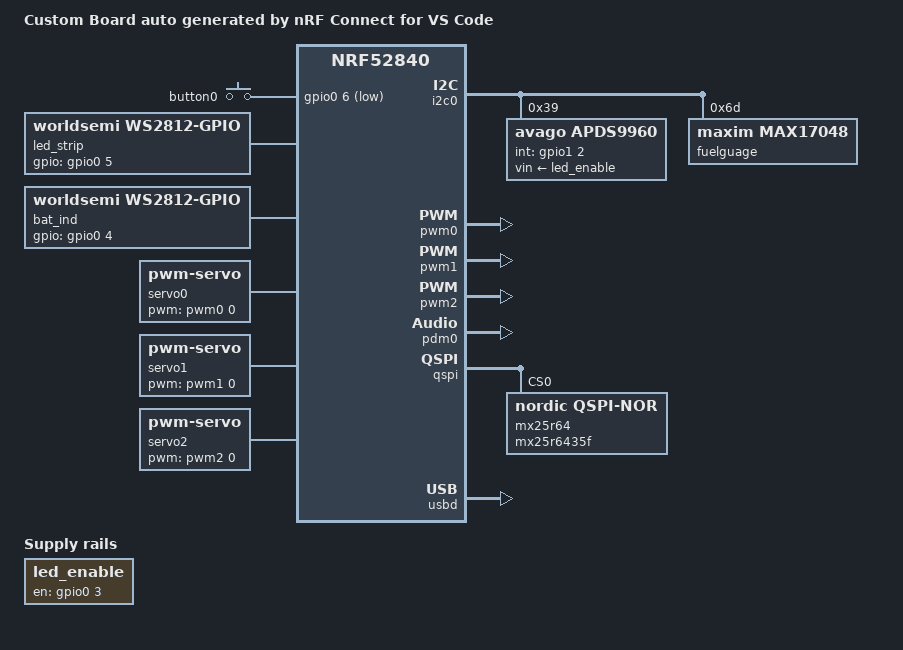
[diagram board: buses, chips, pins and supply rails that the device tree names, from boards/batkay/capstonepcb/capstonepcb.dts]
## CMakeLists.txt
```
# SPDX-License-Identifier: Apache-2.0

cmake_minimum_required(VERSION 3.20.0)

find_package(Zephyr REQUIRED HINTS $ENV{ZEPHYR_BASE})
project(capstone)

FILE(GLOB app_sources src/*.c)
target_sources(app PRIVATE ${app_sources})
```

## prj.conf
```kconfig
CONFIG_LOG=y

CONFIG_LED_STRIP=y
CONFIG_LED_STRIP_LOG_LEVEL_DBG=y

CONFIG_CONSOLE=y
# CONFIG_UART_CONSOLE=y
# CONFIG_STDOUT_CONSOLE=y
CONFIG_RTT_CONSOLE=y
CONFIG_USE_SEGGER_RTT=y
CONFIG_PRINTK=y
CONFIG_PWM=y

CONFIG_REGULATOR=y
CONFIG_REGULATOR_FIXED=y

CONFIG_HEAP_MEM_POOL_SIZE=1024
# CONFIG_ASSERT=y
CONFIG_GPIO=y

CONFIG_AUDIO=y
CONFIG_AUDIO_DMIC=y

CONFIG_I2C=y
CONFIG_SENSOR=y

CONFIG_FUEL_GAUGE=y

CONFIG_SENSOR_LOG_LEVEL_INF=y
CONFIG_I2C_LOG_LEVEL_INF=y

CONFIG_APDS9960_TRIGGER_GLOBAL_THREAD=n
CONFIG_APDS9960_TRIGGER_NONE=y
CONFIG_APDS9960_FETCH_MODE_POLL=y
CONFIG_PM_DEVICE=n

# Enable Edge Impulse dependencies
CONFIG_CPP=y
CONFIG_STD_CPP11=y
CONFIG_FP16=n

CONFIG_POWEROFF=y #Sleep
```

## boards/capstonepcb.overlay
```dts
&i2c0 {

	apds9960: gesturesensor@39 {
		compatible = "avago,apds9960";
		reg = <0x39>;
		vin-supply = <&led_enable>;
		zephyr,deferred-init;
	};
};
```

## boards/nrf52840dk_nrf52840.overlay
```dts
/*
 * Copyright (c) 2019, Nordic Semiconductor ASA
 *
 * SPDX-License-Identifier: Apache-2.0
 */

#include <zephyr/dt-bindings/gpio/gpio.h>
#include <zephyr/dt-bindings/led/led.h>

/ {
	cpus {
		// needed for correct ws2812 timing
        cpu@0 {
            clock-frequency = <64000000>;
        };
    };

	led_enable: led_enable {
        compatible = "power-switch";
		gpios = <&gpio0 25 GPIO_ACTIVE_HIGH>;
	};

	led_strip: ws2812 {
		compatible = "worldsemi,ws2812-gpio";

		chain-length = <150>; /* arbitrary */
		color-mapping = <LED_COLOR_ID_GREEN
				 LED_COLOR_ID_RED
				 LED_COLOR_ID_BLUE>;
		/*
		 * Arduino D11 / P0.25, which was chosen to match the pin
		 * used in nrf52dk_nrf52832.overlay.
		 */
		gpios = <&gpio0 2 GPIO_ACTIVE_HIGH>;

		reset-delay = <3200>;

        delay-t1h = <51>;
        delay-t1l = <29>;
        delay-t0h = <26>;
        delay-t0l = <54>;
	};
	bat_ind: bat_led {
		compatible = "worldsemi,ws2812-gpio";

		chain-length = <1>; /* arbitrary */
		color-mapping = <LED_COLOR_ID_GREEN
				 LED_COLOR_ID_RED
				 LED_COLOR_ID_BLUE>;

		gpios = <&gpio0 4 GPIO_ACTIVE_HIGH>;

		reset-delay = <3200>;

        delay-t1h = <51>;
        delay-t1l = <29>;
        delay-t0h = <26>;
        delay-t0l = <54>;
	};
	
	servo0: servo0 {
		compatible = "pwm-servo";
		pwms = <&pwm0 0 PWM_MSEC(20) PWM_POLARITY_NORMAL>;
		min-pulse = <PWM_MSEC(1)>;
		max-pulse = <PWM_MSEC(2)>;
	};
	
	servo1: servo1 {
		compatible = "pwm-servo";
		pwms = <&pwm1 0 PWM_MSEC(20) PWM_POLARITY_NORMAL>;
		min-pulse = <PWM_MSEC(1)>;
		max-pulse = <PWM_MSEC(2)>;
	};

	servo2: servo2 {
		compatible = "pwm-servo";
		pwms = <&pwm2 0 PWM_MSEC(20) PWM_POLARITY_NORMAL>;
		min-pulse = <PWM_MSEC(1)>;
		max-pulse = <PWM_MSEC(2)>;
	};
	

	aliases {
		led-strip = &led_strip;
		bat-ind = &bat_ind;
		led-enable = &led_enable;

	};
};
&i2c0 {
	apds9960: gesturesensor@39 {
		compatible = "avago,apds9960";
		reg = <0x39>;
		int-gpios = <&gpio1 2 GPIO_ACTIVE_HIGH>;
	};

	fuelguage: max17048@6D {
		compatible = "maxim,max17048";
		reg = <0x6D>;

	};
};

&pinctrl {
	pwm0_default_custom: pwm0_default_custom {
		group1 {
			psels = <NRF_PSEL(PWM_OUT0, 0, 13)>; // put pins in commas here?
			nordic,invert;
		};
	};
	pwm0_csleep: pwm0_csleep {
		group1 {
		    psels = <NRF_PSEL(PWM_OUT0, 0, 13)>;
		    low-power-enable;
		};
	};
	pwm1_default_custom: pwm1_default_custom {
		group1 {
			psels = <NRF_PSEL(PWM_OUT0, 0, 4)>; // put pins in commas here?
			nordic,invert;
		};
	};
	pwm1_csleep: pwm1_csleep {
		group1 {
		    psels = <NRF_PSEL(PWM_OUT0, 0, 4)>;
		    low-power-enable;
		};
	};
	pwm2_default_custom: pwm2_default_custom {
		group1 {
			psels = <NRF_PSEL(PWM_OUT0, 0, 3)>; // put pins in commas here?
			nordic,invert;
		};
	};
	pwm2_csleep: pwm2_csleep {
		group1 {
		    psels = <NRF_PSEL(PWM_OUT0, 0, 3)>;
		    low-power-enable;
		};
	};
	pdm0_default_alt: pdm0_default_alt {
		group1 {
			psels = <NRF_PSEL(PDM_CLK, 0, 30)>,
				<NRF_PSEL(PDM_DIN, 0, 31)>;
		};
	};
};

&pwm0 {
	pinctrl-0 = <&pwm0_default_custom>;
	pinctrl-1 = <&pwm0_csleep>;
};

&pwm1 {
	pinctrl-0 = <&pwm1_default_custom>;
	pinctrl-1 = <&pwm1_csleep>;
	status = "okay";
	pinctrl-names="default", "sleep";
};
&pwm2 {
	pinctrl-0 = <&pwm2_default_custom>;
	pinctrl-1 = <&pwm2_csleep>;
	status = "okay";
	pinctrl-names="default", "sleep";
};

dmic: &pdm0 {
	status = "okay";
	pinctrl-0 = <&pdm0_default_alt>;
	pinctrl-names = "default";
	clock-source = "PCLK32M_HFXO";
};
```

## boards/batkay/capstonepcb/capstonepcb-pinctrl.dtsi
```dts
&gpiote {
	status = "okay";
};

&gpio0 {
	status = "okay";
};

&gpio1 {
	status = "okay";
};

&pinctrl {
	// Communication protocals

	// i2c
	i2c0_default: i2c0_default {
		group1 {
			psels = <NRF_PSEL(TWIM_SDA, 0, 26)>,
				<NRF_PSEL(TWIM_SCL, 0, 27)>;
		};
	};
	i2c0_sleep: i2c0_sleep {
		group1 {
			psels = <NRF_PSEL(TWIM_SDA, 0, 26)>,
				<NRF_PSEL(TWIM_SCL, 0, 27)>;
			low-power-enable;
		};
	};

	// pdm
	pdm0_default_alt: pdm0_default_alt {
		group1 {
			psels = <NRF_PSEL(PDM_CLK, 0, 30)>,
				<NRF_PSEL(PDM_DIN, 0, 31)>;
		};
	};

	// qspi
	qspi_default: qspi_default {
		group1 {
			psels = <NRF_PSEL(QSPI_SCK, 0, 19)>,
				<NRF_PSEL(QSPI_IO0, 0, 20)>,
				<NRF_PSEL(QSPI_IO1, 0, 21)>,
				<NRF_PSEL(QSPI_IO2, 0, 22)>,
				<NRF_PSEL(QSPI_IO3, 0, 23)>,
				<NRF_PSEL(QSPI_CSN, 0, 17)>;
			nordic,drive-mode = <NRF_DRIVE_H0H1>;
		};
	};

	qspi_sleep: qspi_sleep {
		group1 {
			psels = <NRF_PSEL(QSPI_SCK, 0, 19)>,
				<NRF_PSEL(QSPI_IO0, 0, 20)>,
				<NRF_PSEL(QSPI_IO1, 0, 21)>,
				<NRF_PSEL(QSPI_IO2, 0, 22)>,
				<NRF_PSEL(QSPI_IO3, 0, 23)>;
			low-power-enable;
		};
		group2 {
			psels = <NRF_PSEL(QSPI_CSN, 0, 17)>;
			low-power-enable;
			bias-pull-up;
		};
	};

	// pwm
	pwm0_default_custom: pwm0_default_custom {
		group1 {
			psels = <NRF_PSEL(PWM_OUT0, 0, 8)>; // put pins in commas here?
			nordic,invert;
		};
	};
	pwm0_csleep: pwm0_csleep {
		group1 {
		    psels = <NRF_PSEL(PWM_OUT0, 0, 8)>;
		    low-power-enable;
		};
	};
	pwm1_default_custom: pwm1_default_custom {
		group1 {
			psels = <NRF_PSEL(PWM_OUT0, 0, 13)>; // put pins in commas here?
			nordic,invert;
		};
	};
	pwm1_csleep: pwm1_csleep {
		group1 {
		    psels = <NRF_PSEL(PWM_OUT0, 0, 13)>;
		    low-power-enable;
		};
	};
	pwm2_default_custom: pwm2_default_custom {
		group1 {
			psels = <NRF_PSEL(PWM_OUT0, 0, 14)>; // put pins in commas here?
			nordic,invert;
		};
	};
	pwm2_csleep: pwm2_csleep {
		group1 {
		    psels = <NRF_PSEL(PWM_OUT0, 0, 14)>;
		    low-power-enable;
		};
	};
	pwm3_default_custom: pwm3_default_custom {
		group1 {
			psels = <NRF_PSEL(PWM_OUT0, 0, 15)>; // put pins in commas here?
			nordic,invert;
		};
	};
	pwm3_csleep: pwm3_csleep {
		group1 {
		    psels = <NRF_PSEL(PWM_OUT0, 0, 15)>;
		    low-power-enable;
		};
	};
	pwm4_default_custom: pwm4_default_custom {
		group1 {
			psels = <NRF_PSEL(PWM_OUT0, 0, 16)>; // put pins in commas here?
			nordic,invert;
		};
	};
	pwm4_csleep: pwm4_csleep {
		group1 {
		    psels = <NRF_PSEL(PWM_OUT0, 0, 16)>;
		    low-power-enable;
		};
	};
	pwm5_default_custom: pwm5_default_custom {
		group1 {
			psels = <NRF_PSEL(PWM_OUT0, 0, 24)>; // put pins in commas here?
			nordic,invert;
		};
	};
	pwm5_csleep: pwm5_csleep {
		group1 {
		    psels = <NRF_PSEL(PWM_OUT0, 0, 24)>;
		    low-power-enable;
		};
	};

};
```

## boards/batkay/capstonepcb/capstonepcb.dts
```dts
/dts-v1/;
#include <nordic/nrf52840_qiaa.dtsi>

#include <zephyr/dt-bindings/gpio/gpio.h>
#include <zephyr/dt-bindings/led/led.h>

#include "capstonepcb-pinctrl.dtsi"

/ {
	model = "Custom Board auto generated by nRF Connect for VS Code";
	compatible = "batkay,capstonepcb";

	chosen {
		zephyr,sram = &sram0;
		zephyr,flash = &flash0;
		zephyr,code-partition = &slot0_partition;
	};

	cpus {
		// needed for correct ws2812 timing
        cpu@0 {
            clock-frequency = <64000000>;
        };
    };

	led_enable: regulator {
		compatible = "regulator-fixed";
		regulator-name = "load_switch_3v3";

		enable-gpios = <&gpio0 3 GPIO_ACTIVE_HIGH>;

		// enable-active-high;
		
	};

	buttons {
		compatible = "gpio-keys";
		no-disconnect;
		debounce-interval-ms = <0>;
		button0: button_0 {
			gpios = <&gpio0 6 GPIO_ACTIVE_LOW>;
		};
	};

	led_strip: ws2812 {
		compatible = "worldsemi,ws2812-gpio";

		chain-length = <150>; /* arbitrary */
		color-mapping = <LED_COLOR_ID_GREEN
				 LED_COLOR_ID_RED
				 LED_COLOR_ID_BLUE>;

		gpios = <&gpio0 5 GPIO_ACTIVE_HIGH>;

		reset-delay = <3200>;

        delay-t1h = <51>;
        delay-t1l = <29>;
        delay-t0h = <26>;
        delay-t0l = <54>;
	};

	bat_ind: bat_led {
		compatible = "worldsemi,ws2812-gpio";

		chain-length = <1>; /* arbitrary */
		color-mapping = <LED_COLOR_ID_GREEN
				 LED_COLOR_ID_RED
				 LED_COLOR_ID_BLUE>;

		gpios = <&gpio0 4 GPIO_ACTIVE_HIGH>;

		reset-delay = <3200>;

        delay-t1h = <51>;
        delay-t1l = <29>;
        delay-t0h = <26>;
        delay-t0l = <54>;
	};
	
	

	// pwm

	servo0: servo0 {
		compatible = "pwm-servo";
		pwms = <&pwm0 0 PWM_MSEC(20) PWM_POLARITY_NORMAL>;
		min-pulse = <PWM_MSEC(1)>;
		max-pulse = <PWM_MSEC(2)>;
	};
	
	servo1: servo1 {
		compatible = "pwm-servo";
		pwms = <&pwm1 0 PWM_MSEC(20) PWM_POLARITY_NORMAL>;
		min-pulse = <PWM_MSEC(1)>;
		max-pulse = <PWM_MSEC(2)>;
	};

	servo2: servo2 {
		compatible = "pwm-servo";
		pwms = <&pwm2 0 PWM_MSEC(20) PWM_POLARITY_NORMAL>;
		min-pulse = <PWM_MSEC(1)>;
		max-pulse = <PWM_MSEC(2)>;
	};
	

	aliases {
		led-strip = &led_strip;
		bat-ind = &bat_ind;
		led-enable = &led_enable;
	};
};

&flash0 {
	partitions {
		compatible = "fixed-partitions";
		#address-cells = <1>;
		#size-cells = <1>;

		boot_partition: partition@0 {
			label = "mcuboot";
			reg = <0x00000000 DT_SIZE_K(48)>;
		};

		slot0_partition: partition@c000 {
			label = "image-0";
			reg = <0x0000c000 DT_SIZE_K(472)>;
		};

		slot1_partition: partition@82000 {
			label = "image-1";
			reg = <0x00082000 DT_SIZE_K(472)>;
		};

		storage_partition: partition@f8000 {
			label = "storage";
			reg = <0x000f8000 DT_SIZE_K(32)>;
		};
	};
};

&i2c0 {
	
	compatible = "nordic,nrf-twi";
	status = "okay";
	pinctrl-0 = <&i2c0_default>;
	pinctrl-1 = <&i2c0_sleep>;
	pinctrl-names = "default", "sleep";
	
	apds9960: gesturesensor@39 {
		compatible = "avago,apds9960";
		reg = <0x39>;
		int-gpios = <&gpio1 2 GPIO_ACTIVE_HIGH>;
		vin-supply = <&led_enable>;
		zephyr,deferred-init;
	};

	fuelguage: max17048@6D {
		compatible = "maxim,max17048";
		reg = <0x6D>;
	};
};


&pwm0 {
	pinctrl-0 = <&pwm0_default_custom>;
	pinctrl-1 = <&pwm0_csleep>;
	status = "okay";
	pinctrl-names="default", "sleep";
};

&pwm1 {
	pinctrl-0 = <&pwm1_default_custom>;
	pinctrl-1 = <&pwm1_csleep>;
	status = "okay";
	pinctrl-names="default", "sleep";
};
&pwm2 {
	pinctrl-0 = <&pwm2_default_custom>;
	pinctrl-1 = <&pwm2_csleep>;
	status = "okay";
	pinctrl-names="default", "sleep";
};

dmic: &pdm0 {
	status = "okay";
	pinctrl-0 = <&pdm0_default_alt>;
	pinctrl-names = "default";
	clock-source = "PCLK32M_HFXO";

};

// qspi flash
&qspi {
	status = "okay";
	pinctrl-0 = <&qspi_default>;
	pinctrl-1 = <&qspi_sleep>;
	pinctrl-names = "default", "sleep";
	mx25r64: mx25r6435f@0 {
		compatible = "nordic,qspi-nor";
		reg = <0>;
		/* MX25R64 supports only pp and pp4io */
		writeoc = "pp4io";
		/* MX25R64 supports all readoc options */
		readoc = "read4io";
		sck-frequency = <8000000>;
		jedec-id = [c2 28 17];
		sfdp-bfp = [
			e5 20 f1 ff  ff ff ff 03  44 eb 08 6b  08 3b 04 bb
			ee ff ff ff  ff ff 00 ff  ff ff 00 ff  0c 20 0f 52
			10 d8 00 ff  23 72 f5 00  82 ed 04 cc  44 83 68 44
			30 b0 30 b0  f7 c4 d5 5c  00 be 29 ff  f0 d0 ff ff
		];
		size = <67108864>;
		has-dpd;
		t-enter-dpd = <10000>;
		t-exit-dpd = <35000>;
	};
};

zephyr_udc0: &usbd {
	compatible = "nordic,nrf-usbd";
	status = "okay";
};
```

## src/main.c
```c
/*
 * Copyright (c) 2017 Linaro Limited
 * Copyright (c) 2018 Intel Corporation
 * Copyright (c) 2024 TOKITA Hiroshi
 *
 * SPDX-License-Identifier: Apache-2.0
 */

#include <errno.h>
#include <string.h>

#include <zephyr/logging/log.h>
LOG_MODULE_REGISTER(main);

#include <zephyr/kernel.h>
#include <zephyr/device.h>
#include <zephyr/devicetree.h>

#include <zephyr/drivers/led_strip.h>

#include <zephyr/sys/util.h>
#include <zephyr/drivers/gpio.h>
#include <zephyr/drivers/regulator.h>
#include <zephyr/sys/poweroff.h>

#include "gesture.h"
#include "led.h"
#include "servo.h"
#include "switch.h"

#define DELAY_TIME K_MSEC(50)

/* size of stack area used by each thread */
#define STACKSIZE 1024

/* scheduling priority used by each thread */
#define PRIORITY 7

#define BUTTON0	DT_ALIAS(sw0)
static struct gpio_callback button_cb_data;

static const struct gpio_dt_spec button = GPIO_DT_SPEC_GET_OR(BUTTON0, gpios, {0});

void buttonPressed(const struct device *dev, struct gpio_callback *cb, uint32_t pins) {
	int err;
	err = gpio_pin_interrupt_configure_dt(&button, 	GPIO_INT_LEVEL_ACTIVE);
	if (err) {
		printf("Could not configure sw0 GPIO interrupt (%d)\n", err);
		return;
	}
	end();
	sys_poweroff();
}

int main(void) {
	int err = 0;
    start();

	if (!gpio_is_ready_dt(&button)) {
		printk("Error: button device %s is not ready\n",
				button.port->name);
		return 0;
	}

	err = gpio_pin_configure_dt(&button, (GPIO_INPUT));
	if (err) {
		printk("Error %d: failed to configure button", err);
		return 0;
	}

	err = gpio_pin_interrupt_configure_dt(&button, 	GPIO_INT_EDGE_TO_INACTIVE);

	if (err) {
		printf("Could not configure sw0 GPIO interrupt (%d)\n", err);

		return 0;
	}
	
	gpio_init_callback(&button_cb_data, buttonPressed, BIT(button.pin));
	gpio_add_callback(button.port, &button_cb_data);

	printk("start");
	return 0;
}



K_THREAD_DEFINE(servo_id, STACKSIZE, servoCtrl, NULL, NULL, NULL,
	PRIORITY + 1, 0, 0);

K_THREAD_DEFINE(gesture_id, STACKSIZE, gestureSample, NULL, NULL, NULL,
	PRIORITY, 0, 0);

K_THREAD_DEFINE(led_id, STACKSIZE, ledControl, NULL, NULL, NULL,
	PRIORITY + 2, 0, 0);
```

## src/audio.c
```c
#include <zephyr/kernel.h>
#include <zephyr/logging/log.h>
LOG_MODULE_REGISTER(dmic);

#include <zephyr/audio/dmic.h>
#include <ei_wrapper.h>

#include "audio.h"
//static const struct device *const dmic_dev = DEVICE_DT_GET(DT_NODELABEL(dmic_dev));

#define MAX_SAMPLE_RATE  4000
#define SAMPLE_BIT_WIDTH 16
#define BYTES_PER_SAMPLE sizeof(int16_t)
/* Milliseconds to wait for a block to be read. */
#define READ_TIMEOUT     1000

/* Size of a block for 100 ms of audio data. */
#define BLOCK_SIZE(_sample_rate, _number_of_channels) \
	(BYTES_PER_SAMPLE * (_sample_rate / 10) * _number_of_channels)

/* Driver will allocate blocks from this slab to receive audio data into them.
 * Application, after getting a given block from the driver and processing its
 * data, needs to free that block.
 */
#define MAX_BLOCK_SIZE   BLOCK_SIZE(MAX_SAMPLE_RATE, 1)
#define BLOCK_COUNT      4
K_MEM_SLAB_DEFINE_STATIC(mem_slab, MAX_BLOCK_SIZE, BLOCK_COUNT, 4);

#define FRAME_ADD_INTERVAL_MS	100

const struct device *const dmic_dev = DEVICE_DT_GET(DT_NODELABEL(dmic));

// #define DEBUG_AUDIO

static void result_ready_cb(int err)
{
	if (err) {
		#ifdef DEBUG_AUDIO
		printk("Result ready callback returned error (err: %d)\n", err);
		#endif

		return;
	}

	const char *label;
	float value;
	float anomaly;


	#ifdef DEBUG_AUDIO

	printk("\nClassification results\n");
	printk("======================\n");
	#endif


	while (true) {
		err = ei_wrapper_get_next_classification_result(&label, &value, NULL);

		if (err) {
			if (err == -ENOENT) {
				err = 0;
			}
			break;
		}
		#ifdef DEBUG_AUDIO

		printk("Value: %.2f\tLabel: %s\n", (double)value, label);
		#endif

	}

	if (err) {
		#ifdef DEBUG_AUDIO

		printk("Cannot get classification results (err: %d)", err);
		#endif

	} else {
		if (ei_wrapper_classifier_has_anomaly()) {
			err = ei_wrapper_get_anomaly(&anomaly);
			if (err) {
				#ifdef DEBUG_AUDIO

				printk("Cannot get anomaly (err: %d)\n", err);
				#endif

			} else {
				#ifdef DEBUG_AUDIO

				printk("Anomaly: %.2f\n", (double)anomaly);
				#endif

			}
		}
	}

	err = ei_wrapper_start_prediction(0, 1);
	if (err) {
		#ifdef DEBUG_AUDIO

		printk("Cannot restart prediction (err: %d)\n", err);
		#endif

	} else {
		#ifdef DEBUG_AUDIO

		printk("Prediction restarted...\n");
		#endif

	}

	
}


int audioSample() {
	int ret;

	LOG_INF("DMIC sample");

	if (!device_is_ready(dmic_dev)) {
		LOG_ERR("%s is not ready", dmic_dev->name);
		return 0;
	}

	struct pcm_stream_cfg stream = {
		.pcm_width = SAMPLE_BIT_WIDTH,
		.mem_slab  = &mem_slab,
	};
	struct dmic_cfg cfg = {
		.io = {
			/* These fields can be used to limit the PDM clock
			 * configurations that the driver is allowed to use
			 * to those supported by the microphone.
			 */
			.min_pdm_clk_freq = 1000000,
			.max_pdm_clk_freq = 3500000,
			.min_pdm_clk_dc   = 40,
			.max_pdm_clk_dc   = 60,
		},
		.streams = &stream,
		.channel = {
			.req_num_streams = 1,
		},
	};

	cfg.channel.req_num_chan = 1;
	cfg.channel.req_chan_map_lo =
		dmic_build_channel_map(0, 0, PDM_CHAN_LEFT);
	cfg.streams[0].pcm_rate = MAX_SAMPLE_RATE;
	cfg.streams[0].block_size =
		BLOCK_SIZE(cfg.streams[0].pcm_rate, cfg.channel.req_num_chan);


	LOG_INF("PCM output rate: %u, channels: %u",
		cfg.streams[0].pcm_rate, cfg.channel.req_num_chan);

	ret = dmic_configure(dmic_dev, &cfg);
	if (ret < 0) {
		LOG_ERR("Failed to configure the driver: %d", ret);
		return ret;
	}

	ret = ei_wrapper_init(result_ready_cb);

	if (ret) {
		printk("Edge Impulse wrapper failed to initialize (err: %d)\n", ret);
		return 0;
	};

	printk("Machine learning model sampling frequency: %zu\n",
	       ei_wrapper_get_classifier_frequency());
	printk("Machine learning model frame size: %zu\n",
		ei_wrapper_get_frame_size());
	printk("Labels assigned by the model:\n");
	for (size_t i = 0; i < ei_wrapper_get_classifier_label_count(); i++) {
		printk("- %s\n", ei_wrapper_get_classifier_label(i));
	}
	printk("\n");

	ret = ei_wrapper_start_prediction(0, 0);
	if (ret) {
		printk("Cannot start prediction (err: %d)\n", ret);
	} else {
		printk("Prediction started...\n");
	}

	ret = dmic_trigger(dmic_dev, DMIC_TRIGGER_START);
	if (ret < 0) {
		LOG_ERR("START trigger failed: %d", ret);
		return ret;
	}
	int i = 0;

	while(true) {
		void *buffer;
		uint32_t size;

		ret = dmic_read(dmic_dev, 0, &buffer, &size, READ_TIMEOUT);
		if (ret < 0) {
			LOG_ERR("%d - read failed: %d", i, ret);
			return ret;
		}
		#ifdef DEBUG_AUDIO

		LOG_INF("%d - got buffer %p of %u bytes", i, buffer, size);
		#endif

		ret = dmic_trigger(dmic_dev, DMIC_TRIGGER_STOP);

		// int sizeFloat = size/sizeof(float);

		float* bufferFloat = (float*) buffer;

		// int buffSize = sizeFloat / ei_wrapper_get_frame_size();

		// ret = ei_wrapper_add_data(bufferFloat, buffSize * ei_wrapper_get_frame_size()); // make sure is multiple of input frame size
		ret = ei_wrapper_add_data(bufferFloat, ei_wrapper_get_frame_size()); // make sure is multiple of input frame size
		if (ret) {
			#ifdef DEBUG_AUDIO

			printk("Cannot provide input data (err: %d)\n", ret);
			printk("Increase CONFIG_EI_WRAPPER_DATA_BUF_SIZE\n");
			#endif

			return 0;
		}
		 // throws out excess data rn

		k_mem_slab_free(&mem_slab, buffer);

		ret = dmic_trigger(dmic_dev, DMIC_TRIGGER_START);

		i++;
		k_sleep(K_MSEC(10)); // 50ms too slow
	}

	LOG_INF("Exiting");
	
	return 0;
}
```

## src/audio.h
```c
#pragma once

int audioSample();
```

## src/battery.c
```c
#include <zephyr/kernel.h>
#include <zephyr/drivers/led_strip.h>
#include <zephyr/logging/log.h>
#include <zephyr/drivers/sensor.h>
#include <zephyr/drivers/fuel_gauge.h>


LOG_MODULE_REGISTER(battery);


#include "battery.h"

#define BAT_NODE		DT_ALIAS(bat_ind)


#define RGB(_r, _g, _b) { .r = (_r), .g = (_g), .b = (_b) }


static const struct device *fuel_gauge_dev = DEVICE_DT_GET(DT_NODELABEL(fuelguage));
// static const struct device *fuel_gauge_dev;
static const struct device *const led = DEVICE_DT_GET(BAT_NODE);


static struct led_rgb ind_color;

int runBattery() {

    union fuel_gauge_prop_val val;

    if (!device_is_ready(led)) {
        LOG_ERR("Battery LED not ready");
        return 0;
    }

    if (!device_is_ready(fuel_gauge_dev)) {
        LOG_ERR("Fuel gauge device not ready");
        memcpy(&ind_color, &(struct led_rgb) RGB(0, 0, 255), sizeof(struct led_rgb));
        while (true) {
            led_strip_update_rgb(led, &ind_color, 1);
            k_sleep(K_MSEC(1000));

        }
        return 0;
    }

    while (1) {
        if (fuel_gauge_get_prop(fuel_gauge_dev, FUEL_GAUGE_VOLTAGE, &val) < 0) {
            LOG_ERR("Failed to get voltage");
            continue;
        }
        LOG_INF("Battery Voltage: %d mV", val.voltage);

        memcpy(&ind_color, &(struct led_rgb) RGB(0, 255, 0), sizeof(struct led_rgb));
        led_strip_update_rgb(led, &ind_color, 1);

        k_sleep(K_MSEC(1000));
    }
}
```

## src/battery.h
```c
#pragma once

int runBattery();
```

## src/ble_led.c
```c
/***
 * Characteristic to handle colors. Updates will show up on LED in bluetooth state
 */
#include "ble_led.h"

#include <zephyr/drivers/led_strip.h>


struct led_rgb saved_color;
static bool updated;
static bool modified;

int led_service_init(int r, int g, int b)
{
    int err = 0;

    saved_color.b = b;
    saved_color.r = r;
    saved_color.g = g;
    updated = true;
    modified = false;

    return err;
}

void get_led_data(struct led_rgb *buf) {
    // memcpy(buf, &saved_color, sizeof(struct led_rgb));
    buf->r = saved_color.r;
    buf->g = saved_color.g;
    buf->b = saved_color.b;
}

bool get_updated() {
    if (updated) {
        updated = false;
        return true;
    }
    return false;
}

bool get_modified_led() {
    return modified;
}

ssize_t on_receive_led(struct bt_conn *conn,
			  const struct bt_gatt_attr *attr,
			  const void *buf,
			  uint16_t len,
			  uint16_t offset,
			  uint8_t flags)
{
    uint8_t *value = attr->user_data;
    if (len != sizeof(saved_color)) {
        return BT_GATT_ERR(BT_ATT_ERR_INVALID_OFFSET);
    }
    // // memcpy(&saved_color, value, sizeof(saved_color));
    // saved_color.r = value[1];
    // saved_color.g = value[2];
    // saved_color.b = value[3];

    // uint8_t *value = attr->user_data;

	memcpy(value + offset, buf, len);
	// value[offset + len] = 0;

    updated = true;
    modified = true;

    return len;
}

ssize_t read_led(struct bt_conn *conn, const struct bt_gatt_attr *attr,
			void *buf, uint16_t len, uint16_t offset)
{
	const char *value = attr->user_data;

	return bt_gatt_attr_read(conn, attr, buf, len, offset, value,
				 sizeof(struct led_rgb));
}
```

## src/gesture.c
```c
#include <zephyr/kernel.h>
#include <zephyr/device.h>
#include <zephyr/drivers/sensor.h>
#include <zephyr/devicetree.h>

#include <zephyr/sys/util.h>

#include "gesture.h"
#include "switch.h"

const struct device *const gesture = DEVICE_DT_GET(DT_NODELABEL(apds9960));
struct sensor_value intensity, pdata;
static bool ready;

uint32_t getProximity() {
	return pdata.val1;
}

bool proximityReady() {
	bool ret = ready;
	ready = false;
	return ret;
}

int gestureSample() {
	int ret = 0;

	while(!enabled()) {
		printk("Waiting");
	}
	k_sleep(K_MSEC(100));


	printk("APDS9960 thread\n");
	ret = device_init(gesture);
	if (ret) {
		printk("Sensor failed init %i \n", ret);
		return 0;
	}
	if (!device_is_ready(gesture)) {
		printk("sensor: device not ready.\n");
		return 0;
	}

	while (true) {
		if (sensor_sample_fetch(gesture)) {
			printk("sensor_sample fetch failed\n");
			continue;
		}
		sensor_channel_get(gesture, SENSOR_CHAN_PROX, &pdata);
		ready = true;

		printk("ambient light intensity %d, proximity %d\n",
		       intensity.val1, pdata.val1);
		
		// k_sleep(K_MSEC(50));
	}
}
```

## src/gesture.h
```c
#pragma once
int gestureSample();
uint32_t getProximity();
bool proximityReady();
```

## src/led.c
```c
#include <zephyr/kernel.h>
#include <zephyr/drivers/led_strip.h>
#include <zephyr/logging/log.h>
LOG_MODULE_REGISTER(led);

#include "led.h"
#include "hsv2rgb.h"


#define STRIP_NODE		DT_ALIAS(led_strip)

#if DT_NODE_HAS_PROP(DT_ALIAS(led_strip), chain_length)
#define STRIP_NUM_PIXELS	DT_PROP(DT_ALIAS(led_strip), chain_length)
#else
#error Unable to determine length of LED strip
#endif

#define MAX_BRIGHTNESS 50

static struct led_rgb pixels[STRIP_NUM_PIXELS];

static const struct device *const strip = DEVICE_DT_GET(STRIP_NODE);


#define RGB(_r, _g, _b) { .r = (_r), .g = (_g), .b = (_b) }

static struct led_rgb color = RGB(0x00, 0x00, MAX_BRIGHTNESS);

int ledControl() {
	int rc;

	if (device_is_ready(strip)) {
		LOG_INF("Found LED strip device %s", strip->name);
	} else {
		LOG_ERR("LED strip device %s is not ready", strip->name);
		return 0;
	}

	LOG_INF("Displaying pattern on strip");

	int idx = 0;
	while (true) {
		memset(&pixels, 0x00, sizeof(pixels));
		for (size_t cursor = 0; cursor < STRIP_NUM_PIXELS; cursor++) {
			color = hsv2rgb((cursor + idx) % 360, 100, (MAX_BRIGHTNESS)/255.0 * 100);
			memcpy(&pixels[cursor], &color, sizeof(struct led_rgb));
		}
		// idx = (idx + 1) % (3 * STRIP_NUM_PIXELS);
		idx = (idx + 8) % 360;


		rc = led_strip_update_rgb(strip, pixels, STRIP_NUM_PIXELS);
		if (rc) {
			LOG_ERR("couldn't update strip: %d", rc);
		}

		k_sleep(K_MSEC(500));
		

	}
}
```

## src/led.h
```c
#pragma once
int ledControl();
```

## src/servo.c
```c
#include <zephyr/kernel.h>
#include <zephyr/drivers/pwm.h>
#include "servo.h"
#include "gesture.h"

#define NUM_SERVO 6

static const struct pwm_dt_spec ser0 = PWM_DT_SPEC_GET(DT_NODELABEL(servo0));
static const struct pwm_dt_spec ser1 = PWM_DT_SPEC_GET(DT_NODELABEL(servo1));
static const struct pwm_dt_spec ser2 = PWM_DT_SPEC_GET(DT_NODELABEL(servo2));
static const struct pwm_dt_spec ser3 = PWM_DT_SPEC_GET(DT_NODELABEL(servo3));
static const struct pwm_dt_spec ser4 = PWM_DT_SPEC_GET(DT_NODELABEL(servo4));
static const struct pwm_dt_spec ser5 = PWM_DT_SPEC_GET(DT_NODELABEL(servo5));

static const struct pwm_dt_spec* servos[NUM_SERVO];

static const uint32_t min_pulse = DT_PROP(DT_NODELABEL(servo0), min_pulse);
static const uint32_t max_pulse = DT_PROP(DT_NODELABEL(servo0), max_pulse);

static const int factor = (max_pulse - min_pulse)/255;

#define STEP PWM_USEC(100)

enum direction {
	DOWN,
	UP,
};

int servoCtrl() {
	uint32_t pulse_width = min_pulse;
	int32_t prox;
	int ret;

	printk("Servomotor control\n");
	servos[0] = &ser0;
	servos[1] = &ser1;
	servos[2] = &ser2;
	servos[3] = &ser3;
	servos[4] = &ser4;
	servos[5] = &ser5;

	for (int i = 0; i < NUM_SERVO; ++i) {
		if (!pwm_is_ready_dt(servos[i])) {
			printk("Error: PWM device %s is not ready\n", servos[i]->dev->name);
			return 0;
		}
	}

	while(true) {
		if (proximityReady()) {
			prox = getProximity(); // 0 to 255
			pulse_width = prox * factor + min_pulse;
			for (int i = 0; i < NUM_SERVO; ++i) {
				ret = pwm_set_pulse_dt(servos[i], pulse_width);
			}
		}
		// k_sleep(K_SECONDS(1));
	}
	return 0;
}
```

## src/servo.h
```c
#pragma once

int servoCtrl();
```

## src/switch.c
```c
#include <errno.h>
#include <string.h>

#include <zephyr/kernel.h>
#include <zephyr/device.h>
#include <zephyr/devicetree.h>

#include <zephyr/sys/util.h>
#include <zephyr/drivers/gpio.h>
#include <zephyr/drivers/regulator.h>

#include "switch.h"

#define LED_ENABLE DT_ALIAS(led_enable)

const struct device *enable_switch = DEVICE_DT_GET(LED_ENABLE);
static volatile bool on = false;

bool enabled() {
    return on;
}

void start() {
    on = false;
	// setup load switch GPIO
	if (!device_is_ready(enable_switch)) {
        printk("Regulator device not ready\n");
        return;
    }

	int ret = regulator_enable(enable_switch);
    if (ret < 0) {
        printk("Failed to enable regulator: %d\n", ret);
    } else {
        printk("Regulator enabled\n");
    }
	printf("enable on\n");
    on = true;
}

void end() {
    int ret = regulator_disable(enable_switch);
    if (ret < 0) {
        printk("Failed to disable regulator: %d\n", ret);
    } else {
        printk("Regulator disabled\n");
    }
}
```
